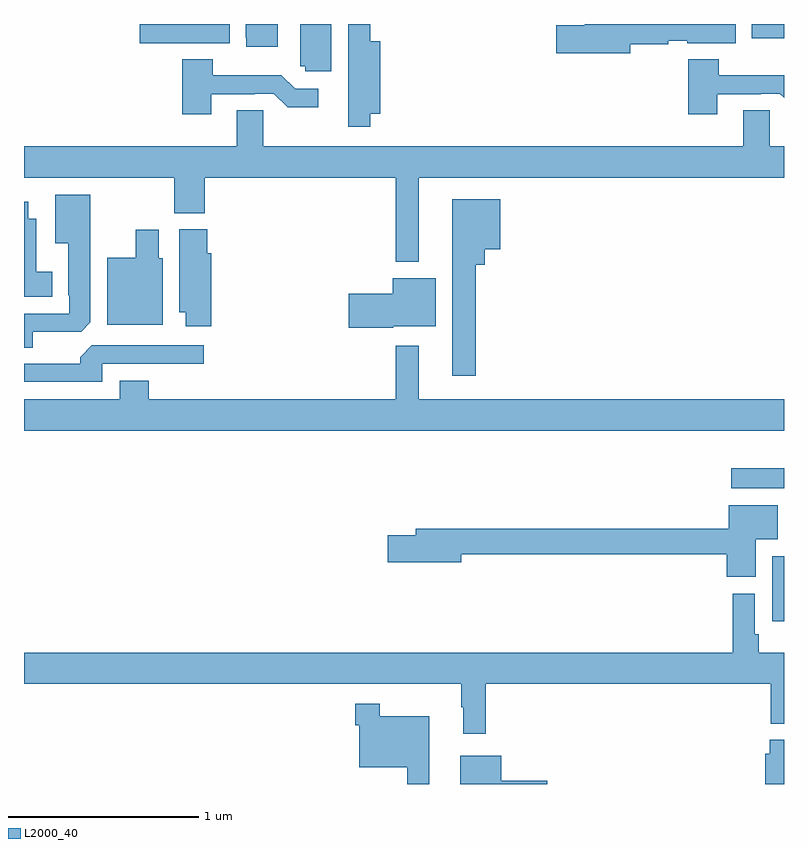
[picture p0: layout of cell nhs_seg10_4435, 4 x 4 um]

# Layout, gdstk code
import gdstk
lib = gdstk.Library(unit=1e-6, precision=1e-09)
def R(c, l, rs):  # rectangles x0, y0, x1, y1
    for r in rs: c.add(gdstk.rectangle(r[:2], r[2:], *l))
def P(c, l, *ps):  # polygons
    for p in ps: c.add(gdstk.Polygon(p, *l))
L2000_40 = (2000, 40)

nhs_seg10_4435 = lib.new_cell('nhs_seg10_4435')
R(nhs_seg10_4435, L2000_40, [(366.938,1255.356,367,1255.698), (366.723,1256.057,367,1256.161), (363.608,1258.4,364.082,1258.5), (366.831,1258.424,367,1258.5)])
P(nhs_seg10_4435, L2000_40, [(366.19,1258.393),(366.392,1258.393),(366.392,1258.413),(366.492,1258.413),(366.492,1258.4),(366.746,1258.4),(366.746,1258.5),(365.951,1258.5),(365.951,1258.493),(365.802,1258.493),(365.802,1258.346),(366.19,1258.346)],
  [(364.336,1258.5),(364.167,1258.5),(364.167,1258.428),(364.169,1258.428),(364.169,1258.379),(364.336,1258.379)],
  [(364.618,1258.5),(364.454,1258.5),(364.454,1258.278),(364.479,1258.278),(364.479,1258.251),(364.618,1258.251)],
  [(364.823,1258.028),(364.874,1258.028),(364.874,1258.408),(364.823,1258.408),(364.823,1258.5),(364.707,1258.5),(364.707,1257.96),(364.823,1257.96)],
  [(363.985,1258.131),(364.214,1258.131),(364.214,1258.134),(364.314,1258.134),(364.387,1258.061),(364.549,1258.061),(364.549,1258.158),(364.428,1258.158),(364.355,1258.231),(363.993,1258.231),(363.993,1258.315),(363.833,1258.315),(363.833,1258.026),(363.985,1258.026)],
  [(366.649,1258.131),(366.878,1258.131),(366.878,1258.134),(366.978,1258.134),(367,1258.112),(367,1258.231),(366.657,1258.231),(366.657,1258.315),(366.497,1258.315),(366.497,1258.026),(366.649,1258.026)],
  [(365.077,1257.692),(367,1257.692),(367,1257.856),(366.924,1257.856),(366.924,1258.046),(366.785,1258.046),(366.785,1257.856),(364.26,1257.856),(364.26,1258.046),(364.121,1258.046),(364.121,1257.856),(363,1257.856),(363,1257.692),(363.79,1257.692),(363.79,1257.505),(363.95,1257.505),(363.95,1257.692),(364.956,1257.692),(364.956,1257.248),(365.077,1257.248)],
  [(363.046,1256.88),(363.3,1256.88),(363.349,1256.929),(363.349,1257.601),(363.164,1257.601),(363.164,1257.347),(363.233,1257.347),(363.233,1257.073),(363.237,1257.073),(363.237,1256.976),(363,1256.976),(363,1256.797),(363.046,1256.797)],
  [(365.377,1257.233),(365.426,1257.233),(365.426,1257.314),(365.506,1257.314),(365.506,1257.577),(365.255,1257.577),(365.255,1256.649),(365.377,1256.649)],
  [(363.148,1257.196),(363.064,1257.196),(363.064,1257.475),(363.022,1257.475),(363.022,1257.565),(363,1257.565),(363,1257.065),(363.148,1257.065)],
  [(363.986,1257.294),(363.965,1257.294),(363.965,1257.42),(363.818,1257.42),(363.818,1256.984),(363.851,1256.984),(363.851,1256.91),(363.986,1256.91)],
  [(363.73,1257.267),(363.709,1257.267),(363.709,1257.418),(363.587,1257.418),(363.587,1257.271),(363.437,1257.271),(363.437,1256.918),(363.73,1256.918)],
  [(364.944,1256.909),(365.167,1256.909),(365.167,1257.163),(364.94,1257.163),(364.94,1257.08),(364.71,1257.08),(364.71,1256.902),(364.944,1256.902)],
  [(363.411,1256.712),(363.946,1256.712),(363.946,1256.808),(363.357,1256.808),(363.296,1256.746),(363.296,1256.712),(363,1256.712),(363,1256.616),(363.411,1256.616)],
  [(367,1256.524),(365.077,1256.524),(365.077,1256.806),(364.956,1256.806),(364.956,1256.524),(363.656,1256.524),(363.656,1256.623),(363.503,1256.623),(363.503,1256.524),(363,1256.524),(363,1256.36),(367,1256.36)],
  [(366.85,1255.787),(366.967,1255.787),(366.967,1255.966),(366.71,1255.966),(366.71,1255.844),(365.063,1255.844),(365.063,1255.808),(364.914,1255.808),(364.914,1255.666),(365.302,1255.666),(365.302,1255.708),(366.698,1255.708),(366.698,1255.59),(366.85,1255.59)],
  [(365.429,1255.028),(366.929,1255.028),(366.929,1254.817),(367,1254.817),(367,1255.192),(366.866,1255.192),(366.866,1255.288),(366.846,1255.288),(366.846,1255.501),(366.73,1255.501),(366.73,1255.192),(363,1255.192),(363,1255.028),(365.301,1255.028),(365.301,1254.905),(365.312,1254.905),(365.312,1254.765),(365.429,1254.765)],
  [(365.134,1254.856),(364.873,1254.856),(364.873,1254.922),(364.744,1254.922),(364.744,1254.809),(364.764,1254.809),(364.764,1254.587),(365.017,1254.587),(365.017,1254.5),(365.134,1254.5)],
  [(367,1254.732),(366.926,1254.732),(366.926,1254.66),(366.902,1254.66),(366.902,1254.5),(367,1254.5)],
  [(365.755,1254.518),(365.512,1254.518),(365.512,1254.649),(365.297,1254.649),(365.297,1254.5),(365.755,1254.5)])

lib.write_gds('nhs_seg10_4435.gds')
